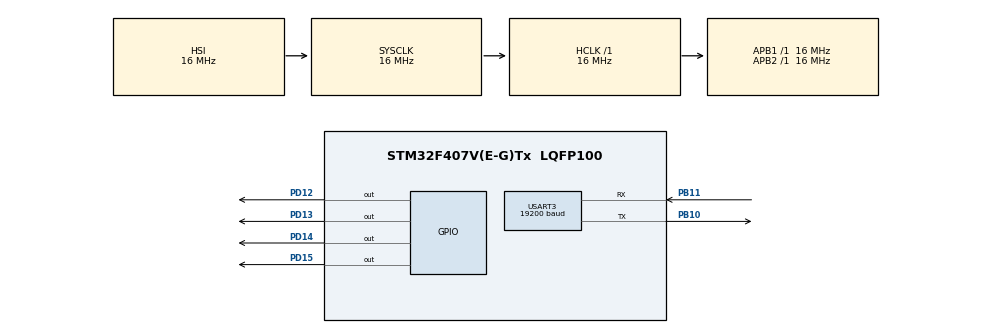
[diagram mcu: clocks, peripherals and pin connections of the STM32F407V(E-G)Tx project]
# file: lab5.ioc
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Mcu.Family=STM32F4
Mcu.Name=STM32F407V(E-G)Tx
Mcu.Package=LQFP100
NVIC.PriorityGroup=NVIC_PRIORITYGROUP_4
PB10.Mode=Asynchronous
PB10.Signal=USART3_TX
PB11.Mode=Asynchronous
PB11.Signal=USART3_RX
PD12.Signal=GPIO_Output
PD13.Signal=GPIO_Output
PD14.Signal=GPIO_Output
PD15.Signal=GPIO_Output
ProjectManager.HeapSize=0x200
ProjectManager.StackSize=0x400
ProjectManager.TargetToolchain=STM32CubeIDE
RCC.AHBFreq_Value=16000000
RCC.APB1Freq_Value=16000000
RCC.APB2Freq_Value=16000000
RCC.CortexFreq_Value=16000000
RCC.HSE_VALUE=25000000
RCC.HSI_VALUE=16000000
RCC.LSE_VALUE=32768
RCC.SYSCLKFreq_VALUE=16000000
RCC.VCOOutputFreq_Value=192000000
USART3.BaudRate=19200
USART3.VirtualMode=VM_ASYNC
board=custom

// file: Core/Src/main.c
/* USER CODE BEGIN Header */
/**
  ******************************************************************************
  * @file           : main.c
  * @brief          : Main program body
  ******************************************************************************
  * @attention
  *
  * Copyright (c) 2025 STMicroelectronics.
  * All rights reserved.
  *
  * This software is licensed under terms that can be found in the LICENSE file
  * in the root directory of this software component.
  * If no LICENSE file comes with this software, it is provided AS-IS.
  *
  ******************************************************************************
  */
/* USER CODE END Header */
#include "main.h"

/* USER CODE BEGIN Includes */
#include <stdbool.h>
#include <string.h>
#include <stdarg.h>
/* USER CODE END Includes */

UART_HandleTypeDef huart3;

void SystemClock_Config(void);
static void MX_GPIO_Init(void);
static void MX_USART3_UART_Init(void);

/* USER CODE BEGIN 0 */
typedef enum {
	LED_OFF = 0,
	LED_ON,
	LED_SWITCH
} LED_STATUS;

void _led_control_internal(LED_STATUS status, uint16_t led1, ...) {
	static bool flags[4] = {false};
	static uint16_t leds[4] = {GPIO_PIN_12, GPIO_PIN_13, GPIO_PIN_14, GPIO_PIN_15};

	va_list args;
	va_start(args, led1);

	uint16_t current = led1;
	while (current != 0xFFFF) {
		GPIO_PinState state;
		if (status == LED_SWITCH) {
			for (int i = 0; i < 4; ++i) {
				if (leds[i] == current) {
					state = !flags[i];
					flags[i] = !flags[i];
					break;
				}
			}
		}
		else {
			state = status;
		}

		HAL_GPIO_WritePin(GPIOD, current, state);
		current = (uint16_t) va_arg(args, int);
	}

	va_end(args);
}

#define switch_led(...) _led_control_internal(LED_SWITCH, __VA_ARGS__, 0xFFFF);
#define enable_led(status, ...) _led_control_internal(status,  __VA_ARGS__, 0xFFFF);

/* USER CODE END 0 */

int main(void)
{

  /* MCU Configuration--------------------------------------------------------*/

  /* Reset of all peripherals, Initializes the Flash interface and the Systick. */
  HAL_Init();

  /* Configure the system clock */
  SystemClock_Config();

  /* Initialize all configured peripherals */
  MX_GPIO_Init();
  MX_USART3_UART_Init();

  /* Infinite loop */
  /* USER CODE BEGIN WHILE */
  while (1)
  {
	  uint8_t buffer[1];
	  HAL_StatusTypeDef result = HAL_UART_Receive(&huart3, buffer, 1, 10);
	  if (result != HAL_OK) {
		  continue;
	  }

	  switch (buffer[0]) {
	  case '1':
		  // Green
		  switch_led(GPIO_PIN_12);
		  HAL_UART_Transmit(&huart3, (uint8_t *) "- GREEN SWITCHED\n\r", 18, 100);
		  break;
	  case '2':
		  // Orange
		  switch_led(GPIO_PIN_13);
		  HAL_UART_Transmit(&huart3, (uint8_t *) "- ORANGE SWITCHED\n\r", 19, 100);
		  break;
	  case '3':
		  // Red
		  switch_led(GPIO_PIN_14);
		  HAL_UART_Transmit(&huart3, (uint8_t *) "- RED SWITCHED\n\r", 16, 100);
		  break;
	  case '4':
		  // Blue
		  switch_led(GPIO_PIN_15);
		  HAL_UART_Transmit(&huart3, (uint8_t *) "- BLUE SWITCHED\n\r", 17, 100);
		  break;
	  case '5':
		  // Enable all
		  enable_led(LED_ON, GPIO_PIN_12, GPIO_PIN_13, GPIO_PIN_14, GPIO_PIN_15);
		  HAL_UART_Transmit(&huart3, (uint8_t *) "- ALL ENABLED\n\r", 15, 100);
		  break;
	  case '6':
		  // Disable all
		  enable_led(LED_OFF, GPIO_PIN_12, GPIO_PIN_13, GPIO_PIN_14, GPIO_PIN_15);
		  HAL_UART_Transmit(&huart3, (uint8_t *) "- ALL DISABLED\n\r", 20, 100);
		  break;
	  default:
		  HAL_UART_Transmit(&huart3, (uint8_t *) "- UNKNOWN COMMAND\n\r", 19, 100);
		  break;
	  }
  }
  /* USER CODE END 3 */
}

void SystemClock_Config(void)
{
  RCC_OscInitTypeDef RCC_OscInitStruct = {0};
  RCC_ClkInitTypeDef RCC_ClkInitStruct = {0};

  /** Configure the main internal regulator output voltage
  */
  __HAL_RCC_PWR_CLK_ENABLE();
  __HAL_PWR_VOLTAGESCALING_CONFIG(PWR_REGULATOR_VOLTAGE_SCALE1);

  /** Initializes the RCC Oscillators according to the specified parameters
  * in the RCC_OscInitTypeDef structure.
  */
  RCC_OscInitStruct.OscillatorType = RCC_OSCILLATORTYPE_HSI;
  RCC_OscInitStruct.HSIState = RCC_HSI_ON;
  RCC_OscInitStruct.HSICalibrationValue = RCC_HSICALIBRATION_DEFAULT;
  RCC_OscInitStruct.PLL.PLLState = RCC_PLL_NONE;
  if (HAL_RCC_OscConfig(&RCC_OscInitStruct) != HAL_OK)
  {
    Error_Handler();
  }

  /** Initializes the CPU, AHB and APB buses clocks
  */
  RCC_ClkInitStruct.ClockType = RCC_CLOCKTYPE_HCLK|RCC_CLOCKTYPE_SYSCLK
                              |RCC_CLOCKTYPE_PCLK1|RCC_CLOCKTYPE_PCLK2;
  RCC_ClkInitStruct.SYSCLKSource = RCC_SYSCLKSOURCE_HSI;
  RCC_ClkInitStruct.AHBCLKDivider = RCC_SYSCLK_DIV1;
  RCC_ClkInitStruct.APB1CLKDivider = RCC_HCLK_DIV1;
  RCC_ClkInitStruct.APB2CLKDivider = RCC_HCLK_DIV1;

  if (HAL_RCC_ClockConfig(&RCC_ClkInitStruct, FLASH_LATENCY_0) != HAL_OK)
  {
    Error_Handler();
  }
}

static void MX_USART3_UART_Init(void)
{

  huart3.Instance = USART3;
  huart3.Init.BaudRate = 19200;
  huart3.Init.WordLength = UART_WORDLENGTH_8B;
  huart3.Init.StopBits = UART_STOPBITS_1;
  huart3.Init.Parity = UART_PARITY_NONE;
  huart3.Init.Mode = UART_MODE_TX_RX;
  huart3.Init.HwFlowCtl = UART_HWCONTROL_NONE;
  huart3.Init.OverSampling = UART_OVERSAMPLING_16;
  if (HAL_UART_Init(&huart3) != HAL_OK)
  {
    Error_Handler();
  }

}

static void MX_GPIO_Init(void)
{
  GPIO_InitTypeDef GPIO_InitStruct = {0};

  /* GPIO Ports Clock Enable */
  __HAL_RCC_GPIOB_CLK_ENABLE();
  __HAL_RCC_GPIOD_CLK_ENABLE();

  /*Configure GPIO pin Output Level */
  HAL_GPIO_WritePin(GPIOD, GPIO_PIN_12|GPIO_PIN_13|GPIO_PIN_14|GPIO_PIN_15, GPIO_PIN_RESET);

  /*Configure GPIO pins : PD12 PD13 PD14 PD15 */
  GPIO_InitStruct.Pin = GPIO_PIN_12|GPIO_PIN_13|GPIO_PIN_14|GPIO_PIN_15;
  GPIO_InitStruct.Mode = GPIO_MODE_OUTPUT_PP;
  GPIO_InitStruct.Pull = GPIO_NOPULL;
  GPIO_InitStruct.Speed = GPIO_SPEED_FREQ_LOW;
  HAL_GPIO_Init(GPIOD, &GPIO_InitStruct);

}

void Error_Handler(void)
{
  __disable_irq();
  while (1)
  {
  }
}
